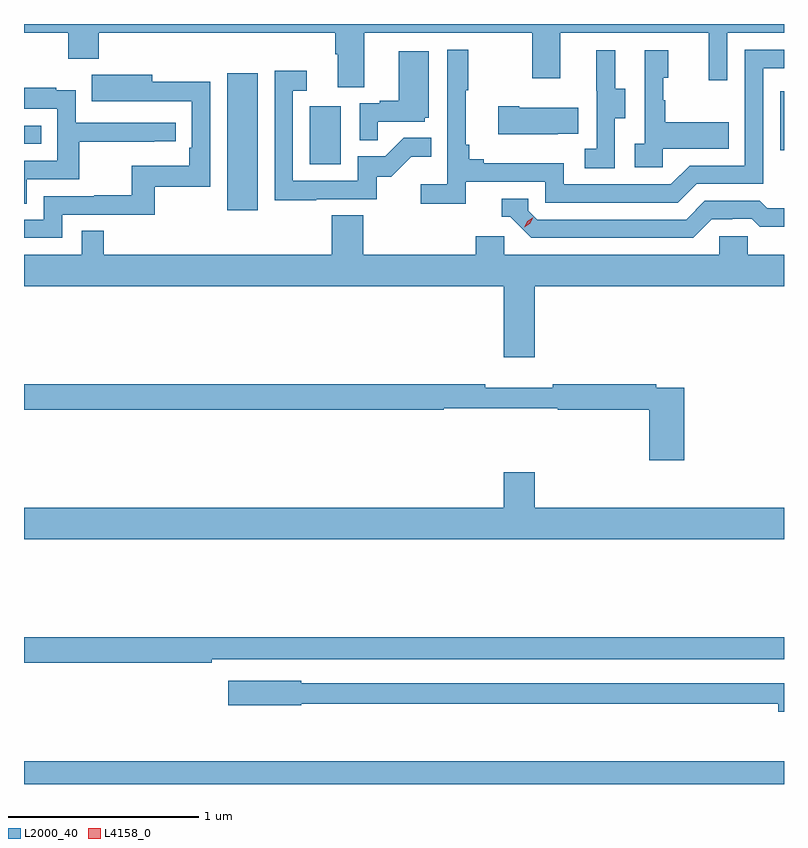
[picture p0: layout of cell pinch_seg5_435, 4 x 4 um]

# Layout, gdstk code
import gdstk
lib = gdstk.Library(unit=1e-6, precision=1e-09)
def R(c, l, rs):  # rectangles x0, y0, x1, y1
    for r in rs: c.add(gdstk.rectangle(r[:2], r[2:], *l))
def P(c, l, *ps):  # polygons
    for p in ps: c.add(gdstk.Polygon(p, *l))
L2000_40 = (2000, 40)
L4158_0 = (4158, 0)

pinch_seg5_435 = lib.new_cell('pinch_seg5_435')
R(pinch_seg5_435, L2000_40, [(941.704,866.127,945.704,866.248), (942.773,869.148,942.934,869.869), (943.208,869.388,943.372,869.695), (945.684,869.463,945.704,869.772), (941.704,869.496,941.795,869.592)])
P(pinch_seg5_435, L2000_40, [(943.495,870.08),(944.38,870.08),(944.38,869.841),(944.527,869.841),(944.527,870.08),(945.308,870.08),(945.308,869.832),(945.405,869.832),(945.405,870.08),(945.704,870.08),(945.704,870.127),(941.704,870.127),(941.704,870.08),(941.938,870.08),(941.938,869.945),(942.098,869.945),(942.098,870.08),(943.343,870.08),(943.343,869.968),(943.355,869.968),(943.355,869.794),(943.495,869.794)],
  [(944.03,869.298),(944.448,869.298),(944.448,869.187),(945.145,869.187),(945.244,869.286),(945.594,869.286),(945.594,869.895),(945.704,869.895),(945.704,869.991),(945.498,869.991),(945.498,869.382),(945.207,869.382),(945.108,869.283),(944.544,869.283),(944.544,869.395),(944.125,869.395),(944.125,869.414),(944.048,869.414),(944.048,869.491),(944.029,869.491),(944.029,869.779),(944.041,869.779),(944.041,869.992),(943.932,869.992),(943.932,869.284),(943.791,869.284),(943.791,869.182),(944.03,869.182)],
  [(944.814,869.632),(944.869,869.632),(944.869,869.787),(944.815,869.787),(944.815,869.989),(944.717,869.989),(944.717,869.775),(944.718,869.775),(944.718,869.471),(944.655,869.471),(944.655,869.368),(944.814,869.368)],
  [(945.066,869.471),(945.413,869.471),(945.413,869.611),(945.079,869.611),(945.079,869.726),(945.069,869.726),(945.069,869.844),(945.094,869.844),(945.094,869.989),(944.97,869.989),(944.97,869.498),(944.919,869.498),(944.919,869.373),(945.066,869.373)],
  [(943.565,869.613),(943.812,869.613),(943.812,869.634),(943.834,869.634),(943.834,869.983),(943.676,869.983),(943.676,869.722),(943.577,869.722),(943.577,869.709),(943.47,869.709),(943.47,869.515),(943.565,869.515)],
  [(943.241,869.205),(943.56,869.205),(943.56,869.322),(943.636,869.322),(943.743,869.429),(943.847,869.429),(943.847,869.528),(943.703,869.528),(943.605,869.43),(943.461,869.43),(943.461,869.301),(943.119,869.301),(943.119,869.775),(943.192,869.775),(943.192,869.881),(943.023,869.881),(943.023,869.2),(943.241,869.2)],
  [(941.904,869.124),(942.391,869.124),(942.391,869.271),(942.684,869.271),(942.684,869.822),(942.379,869.822),(942.379,869.86),(942.061,869.86),(942.061,869.72),(942.275,869.72),(942.275,869.721),(942.588,869.721),(942.588,869.476),(942.575,869.476),(942.575,869.38),(942.27,869.38),(942.27,869.225),(942.073,869.225),(942.073,869.22),(941.808,869.22),(941.808,869.097),(941.704,869.097),(941.704,869.001),(941.904,869.001)],
  [(941.719,869.31),(941.996,869.31),(941.996,869.506),(942.389,869.506),(942.389,869.511),(942.502,869.511),(942.502,869.607),(941.976,869.607),(941.976,869.779),(941.873,869.779),(941.873,869.791),(941.704,869.791),(941.704,869.682),(941.88,869.682),(941.88,869.406),(941.704,869.406),(941.704,869.182),(941.719,869.182)],
  [(944.513,869.549),(944.621,869.549),(944.621,869.686),(944.311,869.686),(944.311,869.694),(944.199,869.694),(944.199,869.546),(944.513,869.546)],
  [(945.325,869.1),(945.432,869.1),(945.432,869.103),(945.535,869.103),(945.577,869.061),(945.704,869.061),(945.704,869.157),(945.616,869.157),(945.577,869.196),(945.288,869.196),(945.189,869.097),(944.406,869.097),(944.358,869.145),(944.358,869.208),(944.219,869.208),(944.219,869.112),(944.262,869.112),(944.373,869.001),(945.226,869.001)],
  [(944.392,868.748),(945.704,868.748),(945.704,868.912),(945.513,868.912),(945.513,869.01),(945.363,869.01),(945.363,868.912),(944.232,868.912),(944.232,869.01),(944.081,869.01),(944.081,868.912),(943.49,868.912),(943.49,869.12),(943.325,869.12),(943.325,868.912),(942.125,868.912),(942.125,869.039),(942.009,869.039),(942.009,868.912),(941.704,868.912),(941.704,868.748),(944.228,868.748),(944.228,868.374),(944.392,868.374)],
  [(945.179,868.212),(945.032,868.212),(945.032,868.232),(944.488,868.232),(944.488,868.213),(944.132,868.213),(944.132,868.232),(941.704,868.232),(941.704,868.096),(943.912,868.096),(943.912,868.104),(944.512,868.104),(944.512,868.096),(944.996,868.096),(944.996,867.831),(945.179,867.831)],
  [(945.704,867.58),(944.392,867.58),(944.392,867.769),(944.228,867.769),(944.228,867.58),(941.704,867.58),(941.704,867.416),(945.704,867.416)],
  [(942.692,866.784),(945.704,866.784),(945.704,866.9),(941.704,866.9),(941.704,866.764),(942.692,866.764)],
  [(945.704,866.658),(943.164,866.658),(943.164,866.671),(942.78,866.671),(942.78,866.542),(943.164,866.542),(943.164,866.55),(945.674,866.55),(945.674,866.507),(945.704,866.507)])
P(pinch_seg5_435, L4158_0, [(944.336,869.058),(944.336,869.058),(944.352,869.09),(944.383,869.109),(944.383,869.109),(944.383,869.109),(944.367,869.077),(944.336,869.058)])

lib.write_gds('pinch_seg5_435.gds')
